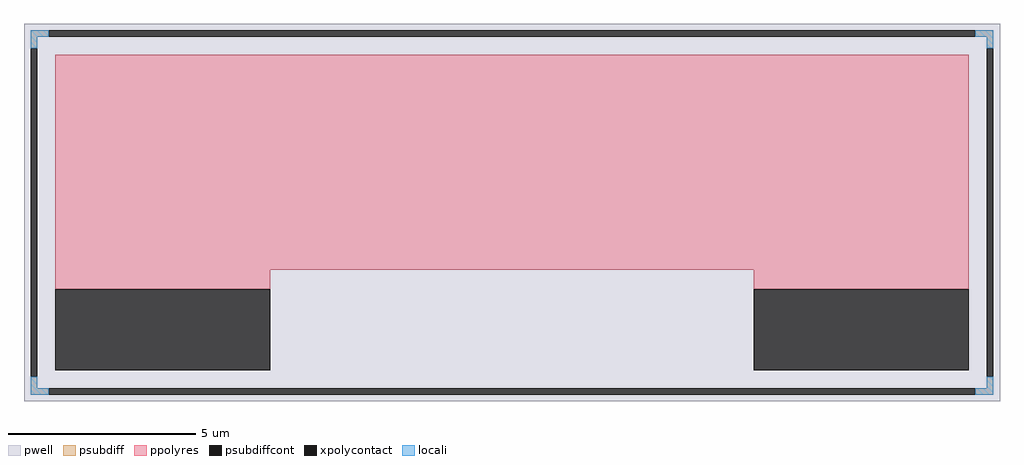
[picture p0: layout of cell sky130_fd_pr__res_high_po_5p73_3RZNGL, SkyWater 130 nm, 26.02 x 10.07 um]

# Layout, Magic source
magic
tech sky130A
magscale 1 2
<< pwell >>
rect -2602 -1007 2602 1007
<< psubdiff >>
rect -2566 937 -2470 971
rect 2470 937 2566 971
rect -2566 875 -2532 937
rect 2532 875 2566 937
rect -2566 -937 -2532 -875
rect 2532 -937 2566 -875
rect -2566 -971 -2470 -937
rect 2470 -971 2566 -937
<< psubdiffcont >>
rect -2470 937 2470 971
rect -2566 -875 -2532 875
rect 2532 -875 2566 875
rect -2470 -971 2470 -937
<< xpolycontact >>
rect -2436 -841 -1290 -409
rect 1290 -841 2436 -409
<< ppolyres >>
rect -2436 -305 2436 841
rect -2436 -409 -1290 -305
rect 1290 -409 2436 -305
<< locali >>
rect -2566 937 -2470 971
rect 2470 937 2566 971
rect -2566 875 -2532 937
rect 2532 875 2566 937
rect -2566 -937 -2532 -875
rect 2532 -937 2566 -875
rect -2566 -971 -2470 -937
rect 2470 -971 2566 -937
<< properties >>
string FIXED_BBOX -2549 -954 2549 954
string gencell sky130_fd_pr__res_high_po_5p73
string library sky130
string parameters w 5.730 l 5.73 m 1 nx 4 wmin 5.730 lmin 0.50 class resistor rho 319.8 val 2.306k dummy 0 dw 0.0 term 194.82 sterm 0.0 caplen 0 guard 1 glc 1 grc 1 gtc 1 gbc 1 compatible {sky130_fd_pr__res_high_po_0p35  sky130_fd_pr__res_high_po_0p69 sky130_fd_pr__res_high_po_1p41  sky130_fd_pr__res_high_po_2p85 sky130_fd_pr__res_high_po_5p73} snake 1 full_metal 1 wmax 5.730 n_guard 0 hv_guard 0 vias 1 viagb 0 viagt 0 viagl 0 viagr 0
<< end >>
